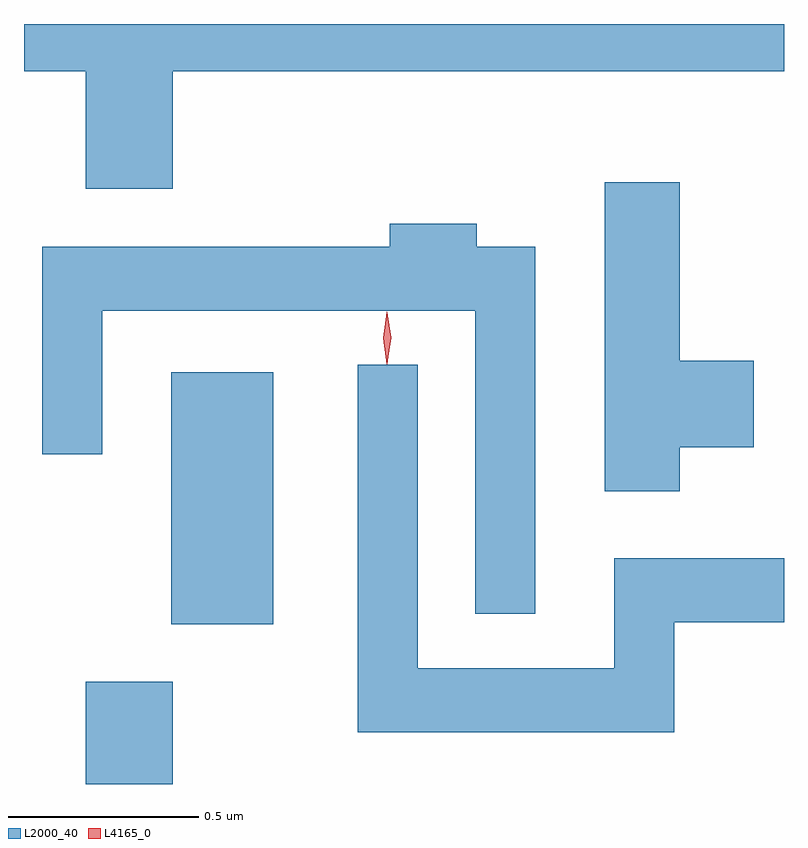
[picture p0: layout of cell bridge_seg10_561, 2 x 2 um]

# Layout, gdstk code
import gdstk
lib = gdstk.Library(unit=1e-6, precision=1e-09)
def R(c, l, rs):  # rectangles x0, y0, x1, y1
    for r in rs: c.add(gdstk.rectangle(r[:2], r[2:], *l))
def P(c, l, *ps):  # polygons
    for p in ps: c.add(gdstk.Polygon(p, *l))
L2000_40 = (2000, 40)
L4165_0 = (4165, 0)

bridge_seg10_561 = lib.new_cell('bridge_seg10_561')
R(bridge_seg10_561, L2000_40, [(776.331,2171.98,776.559,2172.249), (776.556,2172.401,776.824,2173.064)])
P(bridge_seg10_561, L2000_40, [(776.559,2173.856),(778.168,2173.856),(778.168,2173.98),(776.168,2173.98),(776.168,2173.856),(776.331,2173.856),(776.331,2173.546),(776.559,2173.546)],
  [(777.894,2172.866),(778.089,2172.866),(778.089,2173.094),(777.894,2173.094),(777.894,2173.564),(777.696,2173.564),(777.696,2172.751),(777.894,2172.751)],
  [(777.514,2173.394),(777.359,2173.394),(777.359,2173.454),(777.131,2173.454),(777.131,2173.394),(776.216,2173.394),(776.216,2172.848),(776.374,2172.848),(776.374,2173.226),(777.356,2173.226),(777.356,2172.428),(777.514,2172.428)],
  [(777.879,2172.406),(778.168,2172.406),(778.168,2172.574),(777.721,2172.574),(777.721,2172.284),(777.204,2172.284),(777.204,2173.083),(777.046,2173.083),(777.046,2172.116),(777.879,2172.116)])
P(bridge_seg10_561, L4165_0, [(777.123,2173.084),(777.123,2173.084),(777.113,2173.153),(777.123,2173.222),(777.123,2173.223),(777.124,2173.222),(777.133,2173.153),(777.124,2173.084)],
  [(777.124,2173.087),(777.124,2173.088),(777.114,2173.154),(777.124,2173.22),(777.124,2173.22),(777.124,2173.22),(777.134,2173.154),(777.124,2173.088)])

lib.write_gds('bridge_seg10_561.gds')
